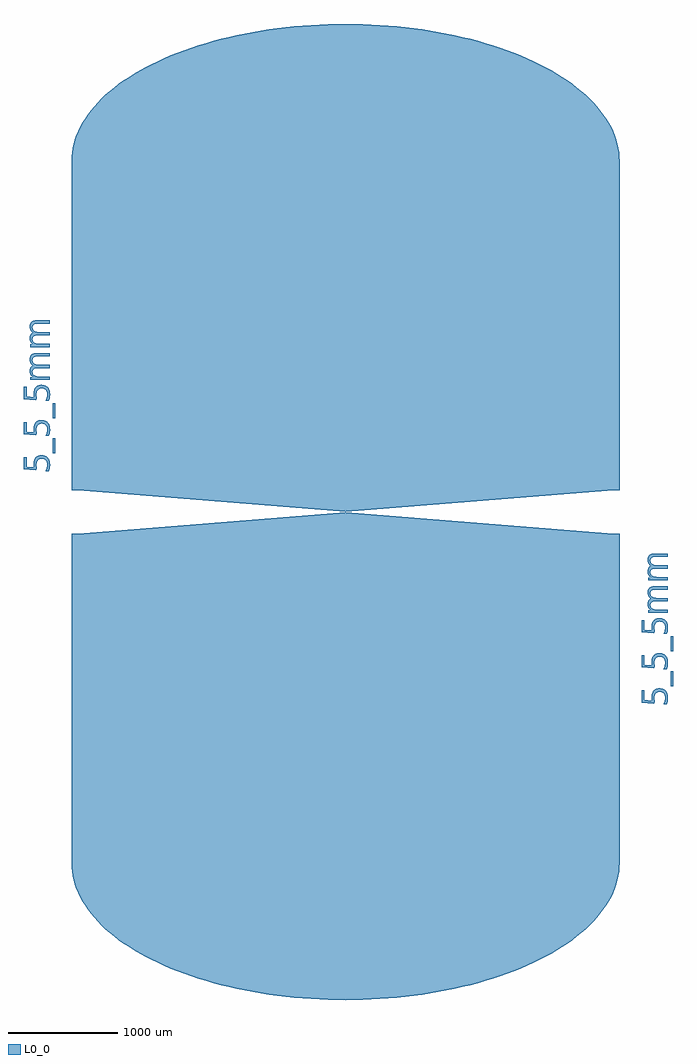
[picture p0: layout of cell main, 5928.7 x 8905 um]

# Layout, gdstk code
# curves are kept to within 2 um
import gdstk
lib = gdstk.Library(unit=1e-6, precision=1e-09)
def R(c, l, rs):  # rectangles x0, y0, x1, y1
    for r in rs: c.add(gdstk.rectangle(r[:2], r[2:], *l))
def P(c, l, *ps):  # polygons
    for p in ps: c.add(gdstk.Polygon(p, *l))
L0_0 = (0, 0)

main = lib.new_cell('main')
R(main, L0_0, [(-2274,-4546,2726,-1542), (3193.9,-2935.3,3216.7,-2796.9), (3193.9,-2614.6,3216.7,-2476.3), (223.5,-1546,228.5,-1141), (-2274,-1145,2726,1859), (-2444.1,-808.1,-2421.3,-669.7), (-2444.1,-487.4,-2421.3,-349.1)])
P(main, L0_0, [(3163.9,-1752.3),(3163.9,-1722.7),(3034.3,-1723.3),(3012.9,-1727.9),(2994.6,-1740.2),(2983.4,-1764.2),(2982.8,-1791.2),(2992.5,-1816.4),(3011.6,-1835.3),(2998.4,-1843.2),(2989.2,-1854.5),(2983.1,-1872.4),(2982.1,-1891.4),(2990,-1917.9),(3009.3,-1938),(2985.2,-1942.3),(2985.2,-1966.4),(3163.9,-1966.4),(3163.9,-1936.7),(3068.2,-1936.7),(3036.8,-1933),(3023.4,-1927.3),(3013.6,-1918.4),(3006.6,-1895.1),(3011.7,-1873.1),(3030.3,-1861.4),(3163.9,-1859.4),(3163.9,-1829.6),(3057,-1829.4),(3037.9,-1826.7),(3023.2,-1820.6),(3012.1,-1809.1),(3007.1,-1794.6),(3007.5,-1776.2),(3015.2,-1762.2),(3027.3,-1755.2),(3040.9,-1752.6)],
  [(3163.9,-2051),(3163.9,-2021.4),(3034.3,-2021.9),(3012.9,-2026.6),(2994.6,-2038.8),(2983.4,-2062.8),(2982.8,-2089.9),(2992.5,-2115),(3011.6,-2134),(2996.1,-2143.9),(2987.8,-2155.8),(2983.1,-2171),(2982.1,-2190.1),(2990,-2216.6),(3009.3,-2236.7),(2985.2,-2240.9),(2985.2,-2265),(3163.9,-2265),(3163.9,-2235.4),(3068.2,-2235.4),(3041.3,-2232.8),(3026.8,-2227.9),(3016,-2219.9),(3009.2,-2208.7),(3006.6,-2193.8),(3011.7,-2171.8),(3030.3,-2160.1),(3163.9,-2158.1),(3163.9,-2128.3),(3057,-2128.1),(3024.7,-2120.2),(3012.1,-2107.7),(3007.1,-2093.3),(3007.5,-2074.9),(3015.2,-2060.8),(3027.3,-2053.9),(3040.9,-2051.3)],
  [(3017.9,-2392.8),(3021.3,-2422.2),(2952.9,-2415.9),(2952.9,-2329.3),(2926,-2329.3),(2926,-2441.6),(3037.9,-2450.6),(3047.2,-2435.9),(3043.1,-2393),(3049.1,-2366.4),(3063.6,-2349.3),(3090.9,-2342.3),(3107.5,-2344.1),(3120.9,-2349.6),(3130.9,-2358.2),(3139.1,-2373.9),(3142,-2394.3),(3140.3,-2416.6),(3134.2,-2440.1),(3126.4,-2455.6),(3154.3,-2455.6),(3160.6,-2442.2),(3167.3,-2399.3),(3161.8,-2360.9),(3148.1,-2336.1),(3137.1,-2326),(3121,-2317.4),(3098.4,-2312.4),(3077.7,-2312.4),(3060.2,-2316.6),(3045.6,-2324.7),(3032.4,-2338.3),(3023.4,-2355.5)],
  [(3017.9,-2713.4),(3021.3,-2742.9),(2952.9,-2736.5),(2952.9,-2649.9),(2926,-2649.9),(2926,-2762.2),(3037.9,-2771.2),(3047.2,-2756.5),(3043.1,-2713.6),(3050.9,-2683.5),(3060.7,-2672.1),(3070.3,-2666.5),(3093.5,-2663),(3111.7,-2666),(3124.1,-2672.4),(3134.2,-2683.5),(3139.1,-2694.5),(3142,-2714.9),(3140.3,-2737.2),(3134.2,-2760.7),(3126.4,-2776.2),(3154.3,-2776.2),(3160.6,-2762.9),(3167.3,-2720),(3161.8,-2681.5),(3146,-2654.5),(3132.1,-2643.3),(3117.9,-2637),(3098.4,-2633),(3077.7,-2633.1),(3060.2,-2637.3),(3045.6,-2645.4),(3032.4,-2658.9),(3023.4,-2676.1)],
  [(3017.9,-3034.1),(3021.3,-3063.5),(2952.9,-3057.2),(2952.9,-2970.6),(2926,-2970.6),(2926,-3082.9),(3037.9,-3091.8),(3047.2,-3077.2),(3043.1,-3034.2),(3049.1,-3007.7),(3057.9,-2995.2),(3067,-2988.7),(3093.5,-2983.6),(3111.7,-2986.6),(3124.1,-2993),(3134.2,-3004.2),(3139.1,-3015.2),(3142,-3035.6),(3140.3,-3057.9),(3134.2,-3081.4),(3126.4,-3096.9),(3154.3,-3096.9),(3160.6,-3083.5),(3167.3,-3040.6),(3161.8,-3002.1),(3146,-2975.1),(3132.1,-2964),(3117.9,-2957.6),(3101.8,-2954),(3077.7,-2953.7),(3060.2,-2957.9),(3045.6,-2966),(3032.4,-2979.6),(3023.4,-2996.8)],
  [(-2474,374.9),(-2474,404.5),(-2603.6,403.9),(-2625,399.3),(-2643.3,387),(-2654.6,363),(-2655.1,336),(-2644.6,309.5),(-2626.3,291.9),(-2641.8,282),(-2650.2,270),(-2655.3,251.4),(-2655.6,232.8),(-2647.9,209.3),(-2628.6,189.2),(-2652.7,184.9),(-2652.7,160.9),(-2474,160.9),(-2474,190.5),(-2569.7,190.5),(-2601.2,194.2),(-2614.6,199.9),(-2624.3,208.8),(-2629.9,221),(-2631.4,234.6),(-2629.7,246.8),(-2624.6,256.1),(-2604.3,266.5),(-2474,267.8),(-2474,297.6),(-2580.9,297.8),(-2600,300.5),(-2616.3,307.7),(-2627.5,321.3),(-2631.4,339.2),(-2629.7,353.8),(-2620.8,366.8),(-2597.1,374.6)],
  [(-2474,76.2),(-2474,105.9),(-2603.6,105.3),(-2625,100.6),(-2643.3,88.4),(-2654.6,64.4),(-2655.1,37.3),(-2645.5,12.2),(-2626.3,-6.8),(-2641.8,-16.7),(-2650.2,-28.6),(-2654.8,-43.8),(-2655.6,-65.8),(-2647.9,-89.4),(-2628.6,-109.5),(-2652.7,-113.7),(-2652.7,-137.8),(-2474,-137.8),(-2474,-108.2),(-2569.7,-108.2),(-2601.2,-104.5),(-2616.2,-97.7),(-2624.3,-89.9),(-2629.9,-77.6),(-2631.4,-64.1),(-2629.7,-51.9),(-2624.6,-42.6),(-2604.3,-32.2),(-2474,-30.9),(-2474,-1.1),(-2580.9,-0.9),(-2602.1,2.4),(-2614.8,8),(-2624.9,18),(-2630.8,33.9),(-2630.4,52.3),(-2622.8,66.4),(-2610.7,73.3),(-2597.1,75.9)],
  [(-2620,-265.6),(-2616.7,-295),(-2684.9,-288.7),(-2684.9,-202.1),(-2712,-202.1),(-2712,-314.4),(-2600,-323.4),(-2590.7,-308.7),(-2594.8,-265.8),(-2588.9,-239.2),(-2582.6,-229.4),(-2571,-220.3),(-2544.5,-215.1),(-2526.2,-218.1),(-2513.9,-224.5),(-2504.8,-234.1),(-2498.3,-248.7),(-2497.4,-287.8),(-2502.7,-309.9),(-2511.6,-328.4),(-2483.6,-328.4),(-2477.4,-315),(-2470.8,-275.4),(-2476.1,-233.7),(-2491.9,-206.6),(-2517,-190.2),(-2539.5,-185.2),(-2560.2,-185.2),(-2577.8,-189.4),(-2592.4,-197.5),(-2604,-208.9),(-2613.5,-225.6),(-2618.9,-245.5)],
  [(-2620,-586.2),(-2616.7,-615.7),(-2684.9,-609.3),(-2684.9,-522.7),(-2712,-522.7),(-2712,-635),(-2600,-644),(-2590.7,-629.3),(-2594.8,-586.4),(-2588.9,-559.8),(-2582.6,-550.1),(-2571,-540.9),(-2544.5,-535.8),(-2526.2,-538.8),(-2513.9,-545.2),(-2504.8,-554.7),(-2498.9,-567.3),(-2496,-587.7),(-2497.4,-608.4),(-2502.7,-630.5),(-2511.6,-649),(-2483.6,-649),(-2477.4,-635.6),(-2470.8,-596.1),(-2476.1,-554.3),(-2491.9,-527.3),(-2503.3,-517.7),(-2520,-509.8),(-2539.5,-505.8),(-2560.2,-505.8),(-2577.8,-510.1),(-2592.4,-518.2),(-2604,-529.5),(-2613.5,-546.3),(-2618.9,-566.1)],
  [(-2620,-906.9),(-2616.7,-936.3),(-2684.9,-930),(-2684.9,-843.4),(-2712,-843.4),(-2712,-955.7),(-2600,-964.6),(-2590.7,-950),(-2594.8,-907.1),(-2588.9,-880.5),(-2582.6,-870.7),(-2571,-861.6),(-2544.5,-856.4),(-2526.2,-859.4),(-2513.9,-865.8),(-2504.8,-875.4),(-2498.3,-890),(-2497.4,-929.1),(-2502.7,-951.2),(-2511.6,-969.7),(-2483.6,-969.7),(-2477.4,-956.3),(-2470.8,-916.7),(-2476.1,-875),(-2491.9,-847.9),(-2503.3,-838.4),(-2520,-830.4),(-2560.2,-826.5),(-2577.8,-830.7),(-2592.4,-838.8),(-2605.6,-852.3),(-2613.5,-866.9),(-2618.9,-886.7)],
  [(-2274,-1546),(2726,-1546),(226,-1346.2),(228.5,-1346),(223.5,-1346),(226,-1346.2)],
  [(-2274,-1141),(226,-1340.8),(223.5,-1341),(228.5,-1341),(226,-1340.8),(2726,-1141)],
  [(-2274,-4546),(-2269.1,-4624.5),(-2254.3,-4702.7),(-2229.7,-4780.2),(-2213.8,-4818.7),(-2195.5,-4856.9),(-2151.7,-4932.3),(-2126.2,-4969.4),(-2068.4,-5042.4),(-1964.8,-5148.2),(-1841.7,-5248.6),(-1700.3,-5342.8),(-1541.8,-5429.9),(-1367.6,-5509.1),(-1179.2,-5579.8),(-978.4,-5641.4),(-766.9,-5693.2),(-620.8,-5722.1),(-471.5,-5746.4),(-242.5,-5773.9),(-9.3,-5790.5),(226,-5796),(461.3,-5790.5),(694.4,-5773.9),(923.5,-5746.4),(1072.8,-5722.1),(1218.9,-5693.2),(1430.3,-5641.4),(1631.3,-5579.8),(1819.6,-5509.1),(1993.8,-5429.9),(2152.3,-5342.8),(2248.5,-5280.7),(2336.8,-5215.8),(2453.5,-5113.5),(2488.1,-5078.2),(2550.4,-5006.1),(2578.2,-4969.4),(2626.7,-4894.7),(2647.4,-4856.9),(2681.7,-4780.2),(2706.3,-4702.7),(2714.9,-4663.6),(2721,-4624.5),(2726,-4546)],
  [(-2274,-4546),(-2269.1,-4624.5),(-2254.3,-4702.7),(-2229.7,-4780.2),(-2213.8,-4818.7),(-2195.5,-4856.9),(-2151.7,-4932.3),(-2126.2,-4969.4),(-2068.4,-5042.4),(-1964.8,-5148.2),(-1841.7,-5248.6),(-1700.3,-5342.8),(-1541.8,-5429.9),(-1367.6,-5509.1),(-1179.2,-5579.8),(-978.4,-5641.4),(-766.9,-5693.2),(-620.8,-5722.1),(-471.5,-5746.4),(-242.5,-5773.9),(-9.3,-5790.5),(226,-5796),(461.3,-5790.5),(694.4,-5773.9),(923.5,-5746.4),(1072.8,-5722.1),(1218.9,-5693.2),(1430.3,-5641.4),(1631.3,-5579.8),(1819.6,-5509.1),(1993.8,-5429.9),(2152.3,-5342.8),(2248.5,-5280.7),(2336.8,-5215.8),(2453.5,-5113.5),(2488.1,-5078.2),(2550.4,-5006.1),(2578.2,-4969.4),(2626.7,-4894.7),(2647.4,-4856.9),(2681.7,-4780.2),(2706.3,-4702.7),(2714.9,-4663.6),(2721,-4624.5),(2726,-4546)],
  [(2726,1859),(2724.7,1898.3),(2714.9,1976.6),(2706.3,2015.7),(2681.7,2093.2),(2647.4,2169.9),(2626.7,2207.7),(2603.6,2245.3),(2550.4,2319.2),(2488.1,2391.2),(2453.5,2426.5),(2336.8,2528.8),(2248.5,2593.7),(2152.3,2655.8),(1993.8,2742.9),(1819.6,2822.1),(1631.3,2892.8),(1430.3,2954.4),(1218.9,3006.2),(1072.8,3035.1),(923.5,3059.4),(694.4,3086.9),(461.3,3103.5),(226,3109),(-9.3,3103.5),(-242.5,3086.9),(-471.5,3059.4),(-620.8,3035.1),(-766.9,3006.2),(-978.4,2954.4),(-1179.2,2892.8),(-1367.6,2822.1),(-1541.8,2742.9),(-1700.3,2655.8),(-1796.6,2593.7),(-1884.8,2528.8),(-2001.5,2426.5),(-2036.1,2391.2),(-2098.4,2319.2),(-2151.7,2245.3),(-2174.7,2207.7),(-2195.5,2169.9),(-2229.7,2093.2),(-2254.3,2015.7),(-2262.9,1976.6),(-2269.1,1937.5),(-2274,1859)],
  [(2726,1859),(2724.7,1898.3),(2714.9,1976.6),(2706.3,2015.7),(2681.7,2093.2),(2647.4,2169.9),(2626.7,2207.7),(2603.6,2245.3),(2550.4,2319.2),(2488.1,2391.2),(2453.5,2426.5),(2336.8,2528.8),(2248.5,2593.7),(2152.3,2655.8),(1993.8,2742.9),(1819.6,2822.1),(1631.3,2892.8),(1430.3,2954.4),(1218.9,3006.2),(1072.8,3035.1),(923.5,3059.4),(694.4,3086.9),(461.3,3103.5),(226,3109),(-9.3,3103.5),(-242.5,3086.9),(-471.5,3059.4),(-620.8,3035.1),(-766.9,3006.2),(-978.4,2954.4),(-1179.2,2892.8),(-1367.6,2822.1),(-1541.8,2742.9),(-1700.3,2655.8),(-1796.6,2593.7),(-1884.8,2528.8),(-2001.5,2426.5),(-2036.1,2391.2),(-2098.4,2319.2),(-2151.7,2245.3),(-2174.7,2207.7),(-2195.5,2169.9),(-2229.7,2093.2),(-2254.3,2015.7),(-2262.9,1976.6),(-2269.1,1937.5),(-2274,1859)])

lib.write_gds('main.gds')
